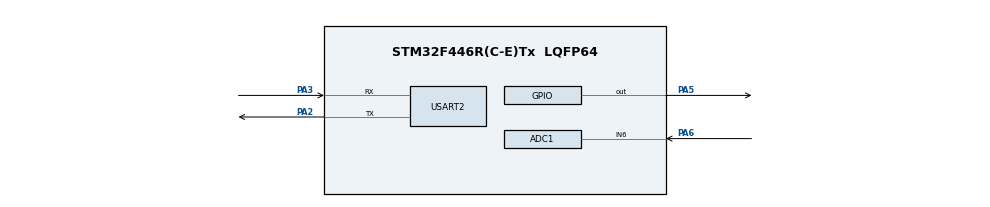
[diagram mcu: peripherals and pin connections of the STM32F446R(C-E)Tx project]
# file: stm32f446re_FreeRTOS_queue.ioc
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ADC1.Channel-1\#ChannelRegularConversion=ADC_CHANNEL_6
ADC1.NbrOfConversionFlag=1
ADC1.Rank-1\#ChannelRegularConversion=1
ADC1.SamplingTime-1\#ChannelRegularConversion=ADC_SAMPLETIME_3CYCLES
ADC1.master=1
FREERTOS.Queues01=uartQueue,10,char *,0,Dynamic,NULL,NULL;cmdQueue,10,CMD_t *,0,Dynamic,NULL,NULL
FREERTOS.Tasks01=menuDisplayTask,-1,512,StartMenuTask,Default,NULL,Dynamic,NULL,NULL;cmdHandlingTask,0,512,StartCmdHandling,Default,NULL,Dynamic,NULL,NULL;cmdProcessingTa,0,512,StartCmdProcessing,Default,NULL,Dynamic,NULL,NULL;uartWriteTask,0,512,StartUartWrite,Default,NULL,Dynamic,NULL,NULL
FREERTOS.configLIBRARY_MAX_SYSCALL_INTERRUPT_PRIORITY=3
FREERTOS.configUSE_TIMERS=1
Mcu.Family=STM32F4
Mcu.Name=STM32F446R(C-E)Tx
Mcu.Package=LQFP64
NVIC.ADC_IRQn=true\:5\:0\:true\:false\:true\:true\:true\:true
NVIC.PriorityGroup=NVIC_PRIORITYGROUP_4
NVIC.USART2_IRQn=true\:10\:0\:true\:true\:true\:1\:true\:true\:true
PA2.GPIO_PuPd=GPIO_PULLUP
PA2.GPIO_Speed=GPIO_SPEED_FREQ_HIGH
PA2.Mode=Asynchronous
PA2.Signal=USART2_TX
PA3.GPIO_PuPd=GPIO_PULLUP
PA3.GPIO_Speed=GPIO_SPEED_FREQ_HIGH
PA3.Mode=Asynchronous
PA3.Signal=USART2_RX
PA5.GPIO_PuPd=GPIO_PULLUP
PA5.GPIO_Speed=GPIO_SPEED_FREQ_LOW
PA5.PinState=GPIO_PIN_SET
PA5.Signal=GPIO_Output
PA6.Signal=ADCx_IN6
ProjectManager.HeapSize=0x200
ProjectManager.StackSize=0x400
ProjectManager.TargetToolchain=STM32CubeIDE
RCC.CortexFreq_Value=16000000
RCC.USBFreq_Value=96000000
RCC.VCOOutputFreq_Value=192000000
SH.ADCx_IN6.0=ADC1_IN6,IN6
USART2.VirtualMode=VM_ASYNC
VP_FREERTOS_VS_CMSIS_V1.Mode=CMSIS_V1
VP_RTC_VS_RTC_Activate.Mode=RTC_Enabled
VP_RTC_VS_RTC_Calendar.Mode=RTC_Calendar
board=custom

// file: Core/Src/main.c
/* USER CODE BEGIN Header */
/**
  ******************************************************************************
  * @file           : main.c
  * @brief          : Main program body
  ******************************************************************************
  * @attention
  *
  * <h2><center>&copy; Copyright (c) 2021 STMicroelectronics.
  * All rights reserved.</center></h2>
  *
  * This software component is licensed by ST under BSD 3-Clause license,
  * the "License"; You may not use this file except in compliance with the
  * License. You may obtain a copy of the License at:
  *                        opensource.org/licenses/BSD-3-Clause
  *
  ******************************************************************************
  */
/* USER CODE END Header */
#include "main.h"
#include "cmsis_os.h"

/* USER CODE BEGIN Includes */
#include "stm32f4xx_it.h"
#include "stm32f4xx_hal_uart.h"
#include "stm32f4xx_hal_gpio.h"
#include "stm32f4xx_hal_rtc.h"

#include "FreeRTOS.h"
#include "task.h"
#include "queue.h"
#include "timers.h"

#include<string.h>
#include<stdint.h>
#include<stdio.h>

// Custom queue for int
#include "queue.h"

/* USER CODE END Includes */

/* USER CODE BEGIN PTD */

typedef struct CMD {
	uint8_t CMD_NUM;
	uint8_t CMD_ARGS[10];
} CMD_t;

/* USER CODE END PTD */

/* USER CODE BEGIN PD */

#define osFeature_MailQ   1

#define LED_ON_CMD			 1
#define LED_OFF_CMD			 2
#define LED_TOGGLE_CMD		 3
#define LED_TOGGLE_OFF_CMD	 4
#define LED_READ_STATUS_CMD	 5
#define RTC_PRINT_DATETIME	 6

/* USER CODE END PD */

ADC_HandleTypeDef hadc1;

RTC_HandleTypeDef hrtc;

UART_HandleTypeDef huart2;

osThreadId menuDisplayTaskHandle;
osThreadId cmdHandlingTaskHandle;
osThreadId cmdProcessingTaHandle;
osThreadId uartWriteTaskHandle;

//osMessageQId uartQueueHandle;
//osMessageQId cmdQueueHandle;
/* USER CODE BEGIN PV */

osMailQId uartQueueHandle;
osMailQId cmdQueueHandle;

// A new thread for ADC handle & control
osThreadId adcHandlingTaskHandle;
osMailQId adcQueueHandle;
node_t *head_queue = NULL;
uint8_t queue_len  = 0;

TimerHandle_t timerHandle = NULL;

//RTC_HandleTypeDef   hrtc;
char usr_msg[250] = {0};
uint8_t cmd_buffer[20];
uint8_t cmd_len = 0;
uint8_t byte = 0;

// Menu
char menu[] = {"\
\r\n===========Application===========\
\r\nLED_ON					----> 1\
\r\nLED_OFF					----> 2\
\r\nPERIODIC_ON				----> 3\
\r\nPERIODIC_OFF			----> 4\
\r\nLED_READ_STATUS		----> 5\
\r\nRTC_PRINT_RUNTIME		----> 6\
\r\nType your option here: "};

extern uint16_t adc_value;

/* USER CODE END PV */

void SystemClock_Config(void);
static void MX_GPIO_Init(void);
static void MX_USART2_UART_Init(void);
static void MX_RTC_Init(void);
static void MX_ADC1_Init(void);
void StartMenuTask(void const * argument);
void StartCmdHandling(void const * argument);
void StartCmdProcessing(void const * argument);
void StartUartWrite(void const * argument);

static void MX_NVIC_Init(void);
/* USER CODE BEGIN PFP */

void StartAdcHandling(void const * argument);

void printMsg(char *msg);

/* USER CODE END PFP */

int main(void)
{

  /* MCU Configuration--------------------------------------------------------*/

  /* Reset of all peripherals, Initializes the Flash interface and the Systick. */
  HAL_Init();

  /* Configure the system clock */
  SystemClock_Config();

  /* Initialize all configured peripherals */
  MX_GPIO_Init();
  MX_USART2_UART_Init();
  MX_RTC_Init();
  MX_ADC1_Init();

  /* Initialize interrupts */
  MX_NVIC_Init();
  /* USER CODE BEGIN 2 */

  // This is needed to wake up UART interrupt
  // It's format has to be consistent with one in HAL_UART_RxCpltCallback
  HAL_UART_Receive_IT(&huart2, &byte, 1);

  //HAL_ADC_Start_IT(&hadc1); // Start ADC1 under Interrupt

  /* USER CODE END 2 */

  /* Create the queue(s) */
  /* definition and creation of uartQueue */
//  osMessageQDef(uartQueue, 10, char *);
//  uartQueueHandle = osMessageCreate(osMessageQ(uartQueue), NULL);
//
//  /* definition and creation of cmdQueue */
//  osMessageQDef(cmdQueue, 10, CMD_t *);
//  cmdQueueHandle = osMessageCreate(osMessageQ(cmdQueue), NULL);

  /* USER CODE BEGIN RTOS_QUEUES */
  /* add queues, ... */

  osMailQDef(uartQueue, 10, char *);
  uartQueueHandle = osMailCreate(osMailQ(uartQueue), NULL);

  osMailQDef(cmdQueue, 10, CMD_t *);
  cmdQueueHandle = osMailCreate(osMailQ(cmdQueue), NULL);

  osMailQDef(adcQueue, 10, uint16_t *);
  adcQueueHandle = osMailCreate(osMailQ(adcQueue), NULL);

  if (uartQueueHandle && cmdQueueHandle){
  /* USER CODE END RTOS_QUEUES */

  /* Create the thread(s) */
  /* definition and creation of menuDisplayTask */
  osThreadDef(menuDisplayTask, StartMenuTask, osPriorityBelowNormal, 1, 512);
  menuDisplayTaskHandle = osThreadCreate(osThread(menuDisplayTask), NULL);

  /* definition and creation of cmdHandlingTask */
  osThreadDef(cmdHandlingTask, StartCmdHandling, osPriorityNormal, 2, 512);
  cmdHandlingTaskHandle = osThreadCreate(osThread(cmdHandlingTask), NULL);

  /* definition and creation of cmdProcessingTa */
  osThreadDef(cmdProcessingTa, StartCmdProcessing, osPriorityNormal, 2, 512);
  cmdProcessingTaHandle = osThreadCreate(osThread(cmdProcessingTa), NULL);

  /* definition and creation of uartWriteTask */
  osThreadDef(uartWriteTask, StartUartWrite, osPriorityNormal, 2, 512);
  uartWriteTaskHandle = osThreadCreate(osThread(uartWriteTask), NULL);

  /* definition and creation of uartWriteTask */
	osThreadDef(adcHandlingTask, StartAdcHandling, osPriorityNormal, 2, 512);
	adcHandlingTaskHandle = osThreadCreate(osThread(adcHandlingTask), NULL);

  /* Start scheduler */
  osKernelStart();

  /* We should never get here as control is now taken by the scheduler */
  /* Infinite loop */
  /* USER CODE BEGIN WHILE */
  }
  else{
	sprintf(usr_msg, "\r\nFailed to create queues!\r\n");
  }
  while (1)
  {
    /* USER CODE END WHILE */

  }
}

void SystemClock_Config(void)
{
  RCC_OscInitTypeDef RCC_OscInitStruct = {0};
  RCC_ClkInitTypeDef RCC_ClkInitStruct = {0};
  RCC_PeriphCLKInitTypeDef PeriphClkInitStruct = {0};

  /** Configure the main internal regulator output voltage
  */
  __HAL_RCC_PWR_CLK_ENABLE();
  __HAL_PWR_VOLTAGESCALING_CONFIG(PWR_REGULATOR_VOLTAGE_SCALE3);
  /** Initializes the RCC Oscillators according to the specified parameters
  * in the RCC_OscInitTypeDef structure.
  */
  RCC_OscInitStruct.OscillatorType = RCC_OSCILLATORTYPE_HSI|RCC_OSCILLATORTYPE_LSI;
  RCC_OscInitStruct.LSEState = RCC_LSE_OFF;
  RCC_OscInitStruct.HSIState = RCC_HSI_ON;
  RCC_OscInitStruct.HSICalibrationValue = RCC_HSICALIBRATION_DEFAULT;
  RCC_OscInitStruct.LSIState = RCC_LSI_ON;
  RCC_OscInitStruct.PLL.PLLState = RCC_PLL_NONE;
  if (HAL_RCC_OscConfig(&RCC_OscInitStruct) != HAL_OK)
  {
    Error_Handler();
  }
  /** Initializes the CPU, AHB and APB buses clocks
  */
  RCC_ClkInitStruct.ClockType = RCC_CLOCKTYPE_HCLK|RCC_CLOCKTYPE_SYSCLK
                              |RCC_CLOCKTYPE_PCLK1|RCC_CLOCKTYPE_PCLK2;
  RCC_ClkInitStruct.SYSCLKSource = RCC_SYSCLKSOURCE_HSI;
  RCC_ClkInitStruct.AHBCLKDivider = RCC_SYSCLK_DIV1;
  RCC_ClkInitStruct.APB1CLKDivider = RCC_HCLK_DIV1;
  RCC_ClkInitStruct.APB2CLKDivider = RCC_HCLK_DIV1;

  if (HAL_RCC_ClockConfig(&RCC_ClkInitStruct, FLASH_LATENCY_0) != HAL_OK)
  {
    Error_Handler();
  }
  PeriphClkInitStruct.PeriphClockSelection = RCC_PERIPHCLK_RTC;
  PeriphClkInitStruct.RTCClockSelection = RCC_RTCCLKSOURCE_LSI;
  if (HAL_RCCEx_PeriphCLKConfig(&PeriphClkInitStruct) != HAL_OK)
  {
    Error_Handler();
  }
}

/**
  * @brief NVIC Configuration.
  * @retval None
  */
static void MX_NVIC_Init(void)
{
  /* USART2_IRQn interrupt configuration */
  HAL_NVIC_SetPriority(USART2_IRQn, 10, 0);
  HAL_NVIC_EnableIRQ(USART2_IRQn);
}

static void MX_ADC1_Init(void)
{

  ADC_ChannelConfTypeDef sConfig = {0};

  /** Configure the global features of the ADC (Clock, Resolution, Data Alignment and number of conversion)
  */
  hadc1.Instance = ADC1;
  hadc1.Init.ClockPrescaler = ADC_CLOCK_SYNC_PCLK_DIV2;
  hadc1.Init.Resolution = ADC_RESOLUTION_12B;
  hadc1.Init.ScanConvMode = DISABLE;
  hadc1.Init.ContinuousConvMode = DISABLE;
  hadc1.Init.DiscontinuousConvMode = DISABLE;
  hadc1.Init.ExternalTrigConvEdge = ADC_EXTERNALTRIGCONVEDGE_NONE;
  hadc1.Init.ExternalTrigConv = ADC_SOFTWARE_START;
  hadc1.Init.DataAlign = ADC_DATAALIGN_RIGHT;
  hadc1.Init.NbrOfConversion = 1;
  hadc1.Init.DMAContinuousRequests = DISABLE;
  hadc1.Init.EOCSelection = ADC_EOC_SINGLE_CONV;
  if (HAL_ADC_Init(&hadc1) != HAL_OK)
  {
    Error_Handler();
  }
  /** Configure for the selected ADC regular channel its corresponding rank in the sequencer and its sample time.
  */
  sConfig.Channel = ADC_CHANNEL_6;
  sConfig.Rank = 1;
  sConfig.SamplingTime = ADC_SAMPLETIME_3CYCLES;
  if (HAL_ADC_ConfigChannel(&hadc1, &sConfig) != HAL_OK)
  {
    Error_Handler();
  }

}

static void MX_RTC_Init(void)
{

  RTC_TimeTypeDef sTime = {0};
  RTC_DateTypeDef sDate = {0};

  /** Initialize RTC Only
  */
  hrtc.Instance = RTC;
  hrtc.Init.HourFormat = RTC_HOURFORMAT_24;
  hrtc.Init.AsynchPrediv = 127;
  hrtc.Init.SynchPrediv = 255;
  hrtc.Init.OutPut = RTC_OUTPUT_DISABLE;
  hrtc.Init.OutPutPolarity = RTC_OUTPUT_POLARITY_HIGH;
  hrtc.Init.OutPutType = RTC_OUTPUT_TYPE_OPENDRAIN;
  if (HAL_RTC_Init(&hrtc) != HAL_OK)
  {
    Error_Handler();
  }

  /** Initialize RTC and set the Time and Date
  */
  sTime.Hours = 0x0;
  sTime.Minutes = 0x0;
  sTime.Seconds = 0x0;
  sTime.DayLightSaving = RTC_DAYLIGHTSAVING_NONE;
  sTime.StoreOperation = RTC_STOREOPERATION_RESET;
  if (HAL_RTC_SetTime(&hrtc, &sTime, RTC_FORMAT_BCD) != HAL_OK)
  {
    Error_Handler();
  }
  sDate.WeekDay = RTC_WEEKDAY_MONDAY;
  sDate.Month = RTC_MONTH_JANUARY;
  sDate.Date = 0x1;
  sDate.Year = 0x0;

  if (HAL_RTC_SetDate(&hrtc, &sDate, RTC_FORMAT_BCD) != HAL_OK)
  {
    Error_Handler();
  }

}

static void MX_USART2_UART_Init(void)
{

  /* USER CODE BEGIN USART2_Init 0 */
	__HAL_RCC_USART2_CLK_ENABLE();
  /* USER CODE END USART2_Init 0 */

  huart2.Instance = USART2;
  huart2.Init.BaudRate = 115200;
  huart2.Init.WordLength = UART_WORDLENGTH_8B;
  huart2.Init.StopBits = UART_STOPBITS_1;
  huart2.Init.Parity = UART_PARITY_NONE;
  huart2.Init.Mode = UART_MODE_TX_RX;
  huart2.Init.HwFlowCtl = UART_HWCONTROL_NONE;
  huart2.Init.OverSampling = UART_OVERSAMPLING_16;
  if (HAL_UART_Init(&huart2) != HAL_OK)
  {
    Error_Handler();
  }

}

static void MX_GPIO_Init(void)
{
  GPIO_InitTypeDef GPIO_InitStruct = {0};

  /* GPIO Ports Clock Enable */
  __HAL_RCC_GPIOA_CLK_ENABLE();

  /*Configure GPIO pin Output Level */
  HAL_GPIO_WritePin(GPIOA, GPIO_PIN_5, GPIO_PIN_SET);

  /*Configure GPIO pin : PA5 */
  GPIO_InitStruct.Pin = GPIO_PIN_5;
  GPIO_InitStruct.Mode = GPIO_MODE_OUTPUT_PP;
  GPIO_InitStruct.Pull = GPIO_PULLUP;
  GPIO_InitStruct.Speed = GPIO_SPEED_FREQ_LOW;
  HAL_GPIO_Init(GPIOA, &GPIO_InitStruct);

/* USER CODE BEGIN 4 */

  GPIO_InitTypeDef GPIO_InitStruct_UART2;

  /**USART2 GPIO Configuration
  PA2     ------> USART2_TX
  PA3     ------> USART2_RX
  */
	GPIO_InitStruct_UART2.Pin = GPIO_PIN_2 | GPIO_PIN_3;
	GPIO_InitStruct_UART2.Mode = GPIO_MODE_AF_PP;
	GPIO_InitStruct_UART2.Pull = GPIO_PULLUP;
	GPIO_InitStruct_UART2.Speed = GPIO_SPEED_LOW;
	GPIO_InitStruct_UART2.Alternate = GPIO_AF7_USART2;
	HAL_GPIO_Init(GPIOA, &GPIO_InitStruct_UART2);

}

uint8_t arraySize(char * array) {
	uint8_t i = 0;
	while (array[i] != '\0') i++;
	return i;
}

void printMsg(char *msg)
{
	uint8_t length = arraySize(msg);
//	while ( __HAL_UART_GET_FLAG(&huart2, UART_FLAG_TXE) != SET);
	HAL_UART_Transmit(&huart2, (uint8_t*)msg, length, 100);
//  HAL_UART_Transmit(&huart2,(uint8_t *) msg, sizeof(msg), portMAX_DELAY);
//  HAL_UART_TxCpltCallback(&huart2); // wait for transfer completion
}

void make_led_on(){
	HAL_GPIO_WritePin(GPIOA, GPIO_PIN_5, GPIO_PIN_SET);
	sprintf(usr_msg, "LED status is: %d\r\n", HAL_GPIO_ReadPin(GPIOA, GPIO_PIN_5));
	osMailPut(uartQueueHandle, &usr_msg );
}

void make_led_off(){
	HAL_GPIO_WritePin(GPIOA, GPIO_PIN_5, GPIO_PIN_RESET);
	sprintf(usr_msg, "LED status is: %d\r\n", HAL_GPIO_ReadPin(GPIOA, GPIO_PIN_5));
	osMailPut(uartQueueHandle, &usr_msg );
}

void periodic_measure(TimerHandle_t xTimer){

	HAL_ADC_Start_IT(&hadc1); // Start ADC1 under Interrupt

	HAL_GPIO_TogglePin(GPIOA, GPIO_PIN_5);

}

void preriodic_measure_start(uint16_t *pred){
	osStatus stus;
	if (timerHandle == NULL){
		// Create Software Timer
		timerHandle = xTimerCreate("pred_timer", pdMS_TO_TICKS(*pred), pdTRUE, NULL, periodic_measure);
		stus = osTimerStart(timerHandle, portMAX_DELAY);
	}
	else{
//		stus = osTimerStart(timerHandle, portMAX_DELAY);
//		TickType_t prev_pred = xTimerGetPeriod( timerHandle );
//		sprintf(usr_msg, "\r\nduration=%d\r\n", (int)prev_pred);
//		osMailPut(uartQueueHandle, &usr_msg );

		xTimerChangePeriod(timerHandle, pdMS_TO_TICKS(*pred), portMAX_DELAY);
	}

//	osTimerStart(timerHandle, portMAX_DELAY);

	sprintf(usr_msg, "\r\nPreriodic measurement with duration=%d , SS=%d\r\n", (int)*pred, (int)stus);
	osMailPut(uartQueueHandle, &usr_msg );
}

void preriodic_measure_stop(){
	xTimerStop(timerHandle, portMAX_DELAY);
	sprintf(usr_msg, "Stop periodic measurement!\r\n");
	osMailPut(uartQueueHandle, &usr_msg );
}

void read_led_status(){
	sprintf(usr_msg, "LED status is: %d\r\n", HAL_GPIO_ReadPin(GPIOA, GPIO_PIN_5));
	osMailPut( uartQueueHandle, &usr_msg );
}

void rtc_print_status(){
	RTC_TimeTypeDef RTC_time;
	RTC_DateTypeDef RTC_date;

	HAL_RTC_GetTime( &hrtc, &RTC_time, RTC_FORMAT_BCD);
	HAL_RTC_GetDate( &hrtc, &RTC_date, RTC_FORMAT_BCD);

//	sprintf(usr_msg, "\r\nTime: %02d-%02d-%02d -- Date: %02d-%02d-%02d\r\n",
//          RTC_time.Hours, RTC_time.Minutes, RTC_time.Seconds,
//          RTC_date.Month, RTC_date.Date, RTC_date.Year);
	sprintf(usr_msg, "\r\nRuntime: %02d hr- %02d min- %02d sec\r\n",
			RTC_time.Hours, RTC_time.Minutes, RTC_time.Seconds);
	osMailPut(uartQueueHandle, &usr_msg );
}

void print_error_msg(){
	sprintf(usr_msg, "\r\nInvalid command received\r\n");
	osMailPut(uartQueueHandle, &usr_msg );
}

/** @brief Convert from ASCI to uint8_t.
 *  character to int value
 * @param buffer - character
 * @retval uint8_t value
 */
uint8_t getCommandCode(uint8_t *buffer){
	//return buffer - 48;  // ASCI char to uint8_t
	return buffer[0] - 48;  // ASCI char to uint8_t
}

uint8_t getArguments(uint8_t *buffer){
	return buffer[0] - 48;  // ASCI char to uint8_t

}

/* USER CODE END 4 */

void StartMenuTask(void const * argument)
{
  /* USER CODE BEGIN 5 */
  /* Infinite loop */
	for(;;)
	  {
		osMailPut( uartQueueHandle, &menu );
			// Wait here until someone notify
		xTaskNotifyWait(0, 0, NULL, portMAX_DELAY);
	  }
  /* USER CODE END 5 */
}

void StartCmdHandling(void const * argument)
{
  /* USER CODE BEGIN StartCmdHandling */
  /* Infinite loop */
	// REF: https://www.keil.com/pack/doc/cmsis/RTOS/html/group__CMSIS__RTOS__Mail.html

	CMD_t *new_cmd;
  for(;;)
  {
	// Wait for someone to notify
	xTaskNotifyWait(0,0,NULL, portMAX_DELAY);

	// Create new_cmd and allocate memory
	//new_cmd = (CMD_t *) pvPortMalloc( sizeof(CMD_t));
	new_cmd = osMailAlloc(cmdQueueHandle, osWaitForever);       // Allocate memory

	taskENTER_CRITICAL(); // disable interrupt

	uint8_t pos = 0;
	while (cmd_buffer[pos] == '\r' || cmd_buffer[pos] == '\n'){
		pos ++;
	}

//	command_code = (uint8_t)cmd_buffer[pos] - 48;
	new_cmd->CMD_NUM = getCommandCode (&cmd_buffer[pos]);

	// Open function for future features
	//getArguments(new_cmd->CMD_ARGS);

	//  set argument
	new_cmd->CMD_ARGS[0] = (new_cmd->CMD_NUM != 3)? 0: getArguments( &cmd_buffer[pos+1]);
	// make sure it in [1, 9]
	if (new_cmd->CMD_ARGS[0] > 9){
		new_cmd->CMD_ARGS[0] = 1;
	}
	taskEXIT_CRITICAL();

	/*
	 * Show code to screen
	 */

//	sprintf(usr_msg, "\r\nTask in queue: %d\r\n", new_cmd->CMD_NUM);
//	//osMailPut(uartQueueHandle, &usr_msg );
//	printMsg(usr_msg);

	// Put command to queue
	osMailPut(cmdQueueHandle, new_cmd);                         // Send Mail
	osThreadYield();

  }
  /* USER CODE END StartCmdHandling */
}

void StartCmdProcessing(void const * argument)
{
  /* USER CODE BEGIN StartCmdProcessing */
  /* Infinite loop */
//	char task_msg[50];
	osEvent event;
	CMD_t *new_cmd;
	uint16_t pred = 0;

	while(1){
		event = osMailGet(cmdQueueHandle, osWaitForever);  // wait for mail
		if (event.status == osEventMail) {
			new_cmd = event.value.p;

			sprintf(usr_msg, "\r\nExecuting task \"%d:%d\"...\r\n", new_cmd->CMD_NUM,new_cmd->CMD_ARGS[0]);
			printMsg(usr_msg);

			switch (new_cmd->CMD_NUM){
			case LED_ON_CMD:
				make_led_on();
				break;
			case LED_OFF_CMD:
				make_led_off();
			break;
			case LED_TOGGLE_CMD:
				pred = (uint16_t)(new_cmd->CMD_ARGS[0]*100);
				preriodic_measure_start(&pred);
				break;
			case LED_TOGGLE_OFF_CMD:
				preriodic_measure_stop();
				break;
			case LED_READ_STATUS_CMD:
				read_led_status();
				break;
			case RTC_PRINT_DATETIME:
				rtc_print_status();
				break;
			default:
				print_error_msg();
				break;
			}

			osMailFree(cmdQueueHandle, new_cmd);  // free memory allocated for mail
		}
	}
  /* USER CODE END StartCmdProcessing */
}

void StartUartWrite(void const * argument)
{
  /* USER CODE BEGIN StartUartWrite */
  /* Infinite loop */
	for(;;)
	  {
		osEvent event = osMailGet(uartQueueHandle, osWaitForever);
		char *received = (char *)event.value.p;
		if (event.status == osOK || event.status == osEventMail){
		  printMsg( received );
		}
		else{
		  sprintf(usr_msg, "\r\nError code %d!!", event.status);
		  printMsg( usr_msg );
		}
		// Free the memory block to be reused
		osMailFree(uartQueueHandle, received);

	  }
  /* USER CODE END StartUartWrite */
}

/* USER CODE BEGIN Header_StartAdcHandling */

void StartAdcHandling(void const * argument){
	uint8_t max_size = 10;
	uint16_t array[max_size];
	for (uint8_t i = 0; i < max_size; i++){
		array[i] = 0;
	}
	uint8_t pos =  0;
	uint8_t size=  0;

	for(;;){
		// Wait for someone to notify
		xTaskNotifyWait(0,0,NULL, portMAX_DELAY);

		// DO DATA PROCESSING HERE
//
		sprintf(usr_msg,"%02d-%02d.Current ADC val == %05d,", pos, size, adc_value);
		printMsg(usr_msg);

		uint16_t current_value = adc_value;

		// Simulate Window shifting average
		uint16_t sum  = 0;

		if (pos >=max_size){
			pos = 0;
		}
		else{
			pos ++;
		}

		if (size < max_size){
			size ++;
		}

		array[pos] = current_value;

		for (uint8_t i = 0; i < size; i++){
			sum += array[i];
		}
		uint16_t mean = sum/size;

//		int mean = mean_queue(&head_queue, queue_len);
		sprintf(usr_msg," mean of %02d value == %05d\r\n", size, mean);
		printMsg(usr_msg);

		osMailPut(adcQueueHandle, &current_value);                         // Send Mail
		osThreadYield();
	}
}

void Error_Handler(void)
{
  __disable_irq();
  while (1)
  {
  }
}

/************************ (C) COPYRIGHT STMicroelectronics *****END OF FILE****/

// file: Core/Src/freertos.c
/* USER CODE BEGIN Header */
/**
  ******************************************************************************
  * File Name          : freertos.c
  * Description        : Code for freertos applications
  ******************************************************************************
  * @attention
  *
  * <h2><center>&copy; Copyright (c) 2021 STMicroelectronics.
  * All rights reserved.</center></h2>
  *
  * This software component is licensed by ST under Ultimate Liberty license
  * SLA0044, the "License"; You may not use this file except in compliance with
  * the License. You may obtain a copy of the License at:
  *                             www.st.com/SLA0044
  *
  ******************************************************************************
  */
/* USER CODE END Header */

#include "FreeRTOS.h"
#include "task.h"
#include "main.h"

/* GetIdleTaskMemory prototype (linked to static allocation support) */
void vApplicationGetIdleTaskMemory( StaticTask_t **ppxIdleTaskTCBBuffer, StackType_t **ppxIdleTaskStackBuffer, uint32_t *pulIdleTaskStackSize );

/* GetTimerTaskMemory prototype (linked to static allocation support) */
void vApplicationGetTimerTaskMemory( StaticTask_t **ppxTimerTaskTCBBuffer, StackType_t **ppxTimerTaskStackBuffer, uint32_t *pulTimerTaskStackSize );

/* USER CODE BEGIN GET_IDLE_TASK_MEMORY */
static StaticTask_t xIdleTaskTCBBuffer;
static StackType_t xIdleStack[configMINIMAL_STACK_SIZE];

void vApplicationGetIdleTaskMemory( StaticTask_t **ppxIdleTaskTCBBuffer, StackType_t **ppxIdleTaskStackBuffer, uint32_t *pulIdleTaskStackSize )
{
  *ppxIdleTaskTCBBuffer = &xIdleTaskTCBBuffer;
  *ppxIdleTaskStackBuffer = &xIdleStack[0];
  *pulIdleTaskStackSize = configMINIMAL_STACK_SIZE;
  /* place for user code */
}
/* USER CODE END GET_IDLE_TASK_MEMORY */

/* USER CODE BEGIN GET_TIMER_TASK_MEMORY */
static StaticTask_t xTimerTaskTCBBuffer;
static StackType_t xTimerStack[configTIMER_TASK_STACK_DEPTH];

void vApplicationGetTimerTaskMemory( StaticTask_t **ppxTimerTaskTCBBuffer, StackType_t **ppxTimerTaskStackBuffer, uint32_t *pulTimerTaskStackSize )
{
  *ppxTimerTaskTCBBuffer = &xTimerTaskTCBBuffer;
  *ppxTimerTaskStackBuffer = &xTimerStack[0];
  *pulTimerTaskStackSize = configTIMER_TASK_STACK_DEPTH;
  /* place for user code */
}
/* USER CODE END GET_TIMER_TASK_MEMORY */

/************************ (C) COPYRIGHT STMicroelectronics *****END OF FILE****/
